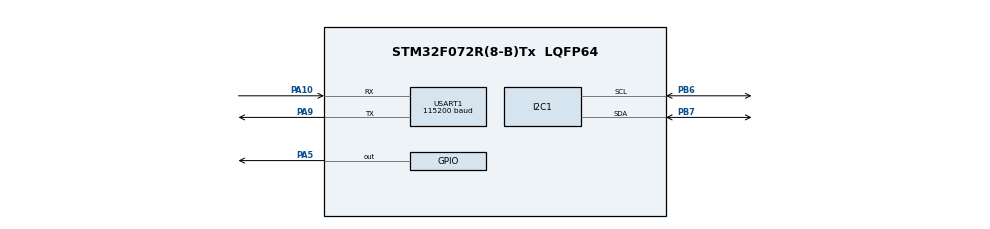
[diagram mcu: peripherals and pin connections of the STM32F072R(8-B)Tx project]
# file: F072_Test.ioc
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Dma.Request0=USART1_RX
Dma.USART1_RX.0.Direction=DMA_PERIPH_TO_MEMORY
Dma.USART1_RX.0.Instance=DMA1_Channel3
Dma.USART1_RX.0.MemDataAlignment=DMA_MDATAALIGN_WORD
Dma.USART1_RX.0.MemInc=DMA_MINC_ENABLE
Dma.USART1_RX.0.Mode=DMA_CIRCULAR
Dma.USART1_RX.0.PeriphDataAlignment=DMA_PDATAALIGN_WORD
Dma.USART1_RX.0.PeriphInc=DMA_PINC_DISABLE
Dma.USART1_RX.0.Priority=DMA_PRIORITY_LOW
Mcu.Family=STM32F0
Mcu.Name=STM32F072R(8-B)Tx
Mcu.Package=LQFP64
NVIC.DMA1_Channel2_3_IRQn=true\:0\:0\:false\:false\:true\:false\:true
NVIC.USART1_IRQn=true\:0\:0\:false\:false\:true\:true\:true
PA10.Mode=Asynchronous
PA10.Signal=USART1_RX
PA13.Mode=Serial_Wire
PA13.Signal=SYS_SWDIO
PA14.Mode=Serial_Wire
PA14.Signal=SYS_SWCLK
PA5.Signal=GPIO_Output
PA9.Mode=Asynchronous
PA9.Signal=USART1_TX
PB6.Mode=I2C
PB6.Signal=I2C1_SCL
PB7.Mode=I2C
PB7.Signal=I2C1_SDA
ProjectManager.HeapSize=0x200
ProjectManager.StackSize=0x400
ProjectManager.TargetToolchain=STM32CubeIDE
USART1.BaudRate=115200
USART1.VirtualMode-Asynchronous=VM_ASYNC
board=custom

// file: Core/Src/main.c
/* USER CODE BEGIN Header */
/**
  ******************************************************************************
  * @file           : main.c
  * @brief          : Main program body
  ******************************************************************************
  * @attention
  *
  * <h2><center>&copy; Copyright (c) 2020 STMicroelectronics.
  * All rights reserved.</center></h2>
  *
  * This software component is licensed by ST under BSD 3-Clause license,
  * the "License"; You may not use this file except in compliance with the
  * License. You may obtain a copy of the License at:
  *                        opensource.org/licenses/BSD-3-Clause
  *
  ******************************************************************************
  */
/* USER CODE END Header */
#include "main.h"

/* USER CODE BEGIN Includes */
#include <stdio.h>
#include <ssd1306.h>
#include <ssd1306_tests.h>
/* USER CODE END Includes */

/* USER CODE BEGIN PTD */
typedef enum
{
	SMBUS_DEVICE_MISSING = 0U,
	SMBUS_DEVICE_FOUND
} SM_DeviceFoundTypedef;
/* USER CODE END PTD */

I2C_HandleTypeDef hi2c1;

UART_HandleTypeDef huart1;
DMA_HandleTypeDef hdma_usart1_rx;

void SystemClock_Config(void);
static void MX_GPIO_Init(void);
static void MX_DMA_Init(void);
static void MX_USART1_UART_Init(void);
static void MX_I2C1_Init(void);

/* USER CODE BEGIN 0 */

/*
int __io_putchar(int ch)
{
	HAL_UART_Transmit(&huart1, (uint8_t *)&ch, 1, 0xFFFF);
	return ch;
}

int __io_getchar()
{
	int ch;
	HAL_UART_Receive(&huart1, (uint8_t *)&ch, 1, 0xFFFF);
	return ch;
}
*/

SM_DeviceFoundTypedef I2C_DeviceScan() {

	SM_DeviceFoundTypedef smbus_status = SMBUS_DEVICE_MISSING;

    HAL_StatusTypeDef res;
    for(uint16_t i = 0; i < 128; i++)
    {
        res = HAL_I2C_IsDeviceReady(&hi2c1, i << 1, 1, 10);
        if(res == HAL_OK)
        {

           	smbus_status = SMBUS_DEVICE_FOUND;

        }
    }

    return smbus_status;
}

void HAL_UART_RxCpltCallback(UART_HandleTypeDef *huart)
{
	HAL_GPIO_TogglePin(GPIOA, GPIO_PIN_5);

}

/* USER CODE END 0 */

int main(void)
{

  /* MCU Configuration--------------------------------------------------------*/

  /* Reset of all peripherals, Initializes the Flash interface and the Systick. */
  HAL_Init();

  /* Configure the system clock */
  SystemClock_Config();

  /* Initialize all configured peripherals */
  MX_GPIO_Init();
  MX_DMA_Init();
  MX_USART1_UART_Init();
  MX_I2C1_Init();
  /* USER CODE BEGIN 2 */

  // blink when initiated correctly
  HAL_GPIO_WritePin(GPIOA, GPIO_PIN_5, GPIO_PIN_SET);
  HAL_Delay(100);
  HAL_GPIO_WritePin(GPIOA, GPIO_PIN_5, GPIO_PIN_RESET);
  HAL_Delay(100);
  HAL_GPIO_WritePin(GPIOA, GPIO_PIN_5, GPIO_PIN_SET);
  HAL_Delay(100);
  HAL_GPIO_WritePin(GPIOA, GPIO_PIN_5, GPIO_PIN_RESET);
  HAL_Delay(100);

  if(I2C_DeviceScan())
  {
	  HAL_GPIO_WritePin(GPIOA, GPIO_PIN_5, GPIO_PIN_SET);
	  HAL_Delay(1000);
	  HAL_GPIO_WritePin(GPIOA, GPIO_PIN_5, GPIO_PIN_RESET);
	  HAL_Delay(100);
	  HAL_GPIO_WritePin(GPIOA, GPIO_PIN_5, GPIO_PIN_SET);
	  HAL_Delay(1000);
	  HAL_GPIO_WritePin(GPIOA, GPIO_PIN_5, GPIO_PIN_RESET);
	  HAL_Delay(100);
  }

  // start receiving on UART via DMA
  uint8_t uart_data_in[1];
  HAL_UART_Receive_DMA(&huart1, uart_data_in, 1);
  if(I2C_DeviceScan())
  {
	  ssd1306_TestAll();
  }
  /* USER CODE END 2 */

  /* Infinite loop */
  /* USER CODE BEGIN WHILE */
  while (1)
  {
	    ssd1306_Fill(Black);
	    ssd1306_SetCursor(2, 0);
	    char data_out [5] = "";
	    snprintf(data_out, sizeof(data_out), "\n\r%s\n\r", uart_data_in);
	    ssd1306_WriteString(data_out, Font_7x10, White);
	    ssd1306_UpdateScreen();
	  //printf("\n\rTest\n\r");
    /* USER CODE END WHILE */

  }
}

void SystemClock_Config(void)
{
  RCC_OscInitTypeDef RCC_OscInitStruct = {0};
  RCC_ClkInitTypeDef RCC_ClkInitStruct = {0};
  RCC_PeriphCLKInitTypeDef PeriphClkInit = {0};

  /** Initializes the RCC Oscillators according to the specified parameters
  * in the RCC_OscInitTypeDef structure.
  */
  RCC_OscInitStruct.OscillatorType = RCC_OSCILLATORTYPE_HSI;
  RCC_OscInitStruct.HSIState = RCC_HSI_ON;
  RCC_OscInitStruct.HSICalibrationValue = RCC_HSICALIBRATION_DEFAULT;
  RCC_OscInitStruct.PLL.PLLState = RCC_PLL_NONE;
  if (HAL_RCC_OscConfig(&RCC_OscInitStruct) != HAL_OK)
  {
    Error_Handler();
  }
  /** Initializes the CPU, AHB and APB buses clocks
  */
  RCC_ClkInitStruct.ClockType = RCC_CLOCKTYPE_HCLK|RCC_CLOCKTYPE_SYSCLK
                              |RCC_CLOCKTYPE_PCLK1;
  RCC_ClkInitStruct.SYSCLKSource = RCC_SYSCLKSOURCE_HSI;
  RCC_ClkInitStruct.AHBCLKDivider = RCC_SYSCLK_DIV1;
  RCC_ClkInitStruct.APB1CLKDivider = RCC_HCLK_DIV1;

  if (HAL_RCC_ClockConfig(&RCC_ClkInitStruct, FLASH_LATENCY_0) != HAL_OK)
  {
    Error_Handler();
  }
  PeriphClkInit.PeriphClockSelection = RCC_PERIPHCLK_USART1|RCC_PERIPHCLK_I2C1;
  PeriphClkInit.Usart1ClockSelection = RCC_USART1CLKSOURCE_PCLK1;
  PeriphClkInit.I2c1ClockSelection = RCC_I2C1CLKSOURCE_HSI;
  if (HAL_RCCEx_PeriphCLKConfig(&PeriphClkInit) != HAL_OK)
  {
    Error_Handler();
  }
}

static void MX_I2C1_Init(void)
{

  hi2c1.Instance = I2C1;
  hi2c1.Init.Timing = 0x2000090E;
  hi2c1.Init.OwnAddress1 = 0;
  hi2c1.Init.AddressingMode = I2C_ADDRESSINGMODE_7BIT;
  hi2c1.Init.DualAddressMode = I2C_DUALADDRESS_DISABLE;
  hi2c1.Init.OwnAddress2 = 0;
  hi2c1.Init.OwnAddress2Masks = I2C_OA2_NOMASK;
  hi2c1.Init.GeneralCallMode = I2C_GENERALCALL_DISABLE;
  hi2c1.Init.NoStretchMode = I2C_NOSTRETCH_DISABLE;
  if (HAL_I2C_Init(&hi2c1) != HAL_OK)
  {
    Error_Handler();
  }
  /** Configure Analogue filter
  */
  if (HAL_I2CEx_ConfigAnalogFilter(&hi2c1, I2C_ANALOGFILTER_ENABLE) != HAL_OK)
  {
    Error_Handler();
  }
  /** Configure Digital filter
  */
  if (HAL_I2CEx_ConfigDigitalFilter(&hi2c1, 0) != HAL_OK)
  {
    Error_Handler();
  }

}

static void MX_USART1_UART_Init(void)
{

  huart1.Instance = USART1;
  huart1.Init.BaudRate = 115200;
  huart1.Init.WordLength = UART_WORDLENGTH_8B;
  huart1.Init.StopBits = UART_STOPBITS_1;
  huart1.Init.Parity = UART_PARITY_NONE;
  huart1.Init.Mode = UART_MODE_TX_RX;
  huart1.Init.HwFlowCtl = UART_HWCONTROL_NONE;
  huart1.Init.OverSampling = UART_OVERSAMPLING_16;
  huart1.Init.OneBitSampling = UART_ONE_BIT_SAMPLE_DISABLE;
  huart1.AdvancedInit.AdvFeatureInit = UART_ADVFEATURE_NO_INIT;
  if (HAL_UART_Init(&huart1) != HAL_OK)
  {
    Error_Handler();
  }

}

static void MX_DMA_Init(void)
{

  /* DMA controller clock enable */
  __HAL_RCC_DMA1_CLK_ENABLE();

  /* DMA interrupt init */
  /* DMA1_Channel2_3_IRQn interrupt configuration */
  HAL_NVIC_SetPriority(DMA1_Channel2_3_IRQn, 0, 0);
  HAL_NVIC_EnableIRQ(DMA1_Channel2_3_IRQn);

}

static void MX_GPIO_Init(void)
{
  GPIO_InitTypeDef GPIO_InitStruct = {0};

  /* GPIO Ports Clock Enable */
  __HAL_RCC_GPIOA_CLK_ENABLE();
  __HAL_RCC_GPIOB_CLK_ENABLE();

  /*Configure GPIO pin Output Level */
  HAL_GPIO_WritePin(GPIOA, GPIO_PIN_5, GPIO_PIN_RESET);

  /*Configure GPIO pin : PA5 */
  GPIO_InitStruct.Pin = GPIO_PIN_5;
  GPIO_InitStruct.Mode = GPIO_MODE_OUTPUT_PP;
  GPIO_InitStruct.Pull = GPIO_NOPULL;
  GPIO_InitStruct.Speed = GPIO_SPEED_FREQ_LOW;
  HAL_GPIO_Init(GPIOA, &GPIO_InitStruct);

}

void Error_Handler(void)
{
}

/************************ (C) COPYRIGHT STMicroelectronics *****END OF FILE****/
